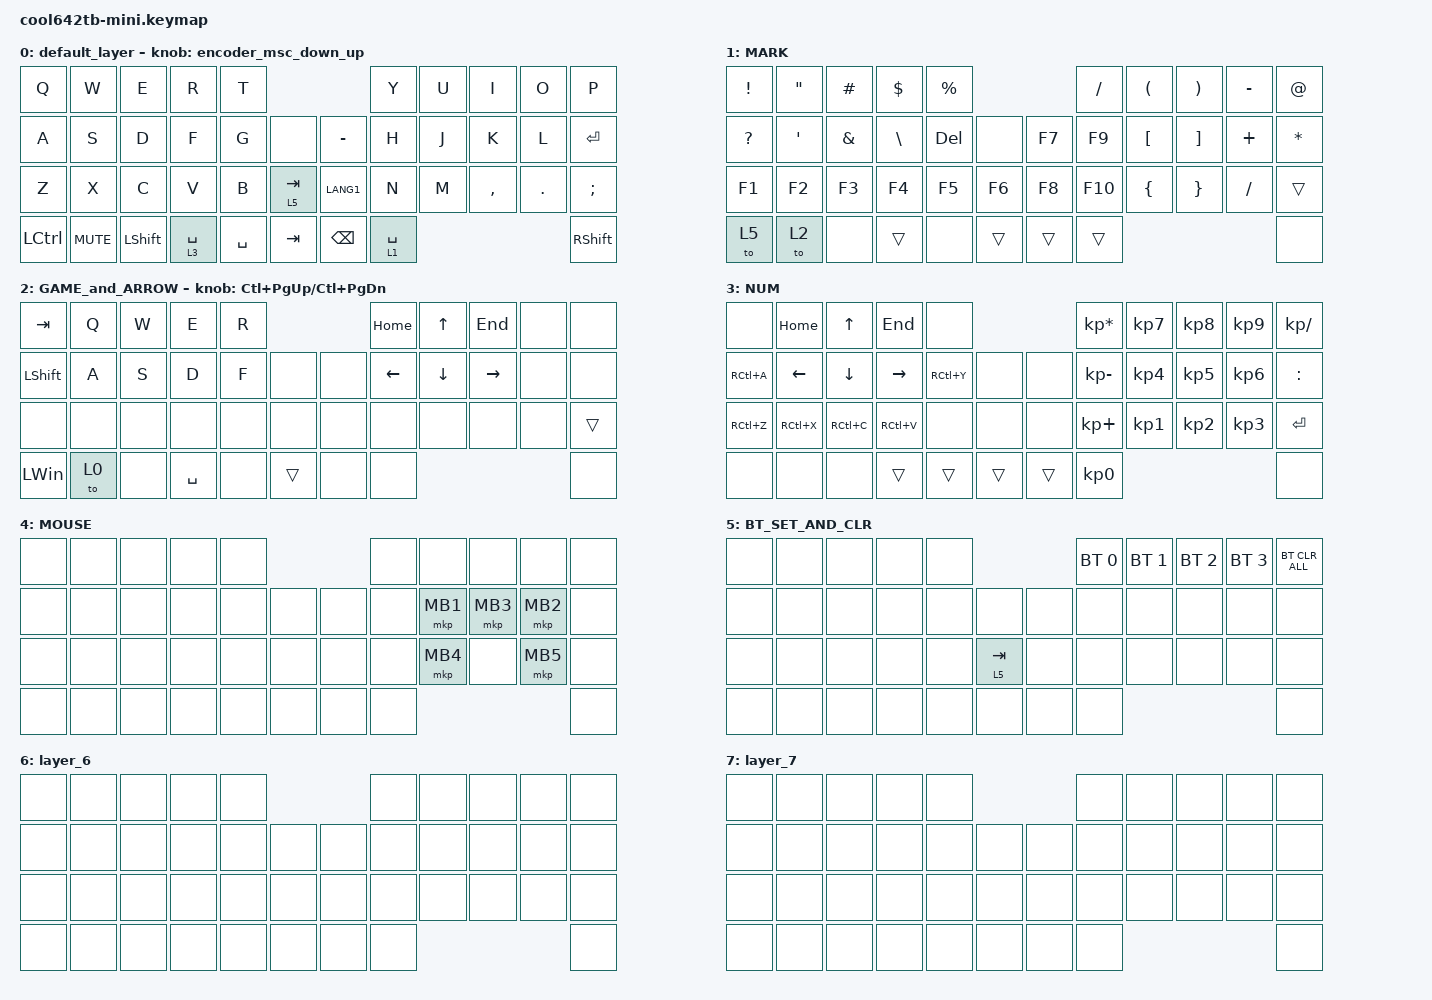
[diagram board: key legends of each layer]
#include <behaviors.dtsi>
#include <dt-bindings/zmk/bt.h>
#include <dt-bindings/zmk/keys.h>
#include <dt-bindings/zmk/pointing.h>

#define MOUSE 4
#define SCROLL 5
#define NUM 6
#define ZMK_POINTING_DEFAULT_SCRL_VAL 80

&mt {
    flavor = "balanced";
    quick-tap-ms = <0>;
};

/ {
    combos {
        compatible = "zmk,combos";

        shift_tab {
            bindings = <&kp LANG2>;
            key-positions = <13 12>;
        };

        lang {
            bindings = <&kp LANG1>;
            key-positions = <18 19>;
        };
    };

    behaviors {
        encoder_msc_down_up: encoder_msc_down_up {
            compatible = "zmk,behavior-sensor-rotate";
            label = "ENCODER_MSC_DOWN_UP";
            #sensor-binding-cells = <0>;
            bindings = <&msc SCRL_UP>, <&msc SCRL_DOWN>;

            tap-ms = <20>;
        };
    };

    keymap {
        compatible = "zmk,keymap";

        default_layer {
            bindings = <
&kp Q      &kp W       &kp E           &kp R        &kp T                                    &kp Y        &kp U  &kp I      &kp O    &kp P
&kp A      &kp S       &kp D           &kp F        &kp G      &none          &kp MINUS      &kp H        &kp J  &kp K      &kp L    &kp ENTER
&kp Z      &kp X       &kp C           &kp V        &kp B      &lt 5 TAB      &kp LANG1      &kp N        &kp M  &kp COMMA  &kp DOT  &kp SEMICOLON
&kp LCTRL  &kp C_MUTE  &kp LEFT_SHIFT  &lt 3 SPACE  &kp SPACE  &kp TAB        &kp BACKSPACE  &lt 1 SPACE                             &kp RIGHT_SHIFT
            >;

            sensor-bindings = <&encoder_msc_down_up>;
        };

        MARK {
            bindings = <
&kp EXCLAMATION  &kp DOUBLE_QUOTES  &kp HASH       &kp DOLLAR     &kp PERCENT                      &kp SLASH  &kp LEFT_PARENTHESIS  &kp RIGHT_PARENTHESIS  &kp MINUS  &kp AT_SIGN
&kp QUESTION     &kp SQT            &kp AMPERSAND  &kp BACKSLASH  &kp DELETE   &none       &kp F7  &kp F9     &kp LEFT_BRACKET      &kp RIGHT_BRACKET      &kp PLUS   &kp ASTERISK
&kp F1           &kp F2             &kp F3         &kp F4         &kp F5       &kp F6      &kp F8  &kp F10    &kp LEFT_BRACE        &kp RIGHT_BRACE        &kp SLASH  &trans
&to 5            &to 2              &none          &trans         &none        &trans      &trans  &trans                                                             &none
            >;
        };

        GAME_and_ARROW {
            bindings = <
&kp TAB         &kp Q  &kp W  &kp E      &kp R                     &kp HOME        &kp UP_ARROW    &kp END    &none  &none
&kp LEFT_SHIFT  &kp A  &kp S  &kp D      &kp F  &none       &none  &kp LEFT_ARROW  &kp DOWN_ARROW  &kp RIGHT  &none  &none
&none           &none  &none  &none      &none  &none       &none  &none           &none           &none      &none  &trans
&kp LEFT_WIN    &to 0  &none  &kp SPACE  &none  &trans      &none  &none                                             &none
            >;

            sensor-bindings = <&inc_dec_kp LC(PAGE_UP) LC(PAGE_DOWN)>;
        };

        NUM {
            bindings = <
&none      &kp HOME        &kp UP_ARROW    &kp END          &none                          &kp KP_ASTERISK  &kp KP_NUMBER_7  &kp KP_NUMBER_8  &kp KP_NUMBER_9  &kp KP_DIVIDE
&kp RC(A)  &kp LEFT_ARROW  &kp DOWN_ARROW  &kp RIGHT_ARROW  &kp RC(Y)  &none       &none   &kp KP_MINUS     &kp KP_NUMBER_4  &kp KP_NUMBER_5  &kp KP_NUMBER_6  &kp COLON
&kp RC(Z)  &kp RC(X)       &kp RC(C)       &kp RC(V)        &none      &none       &none   &kp KP_PLUS      &kp KP_NUMBER_1  &kp KP_NUMBER_2  &kp KP_NUMBER_3  &kp ENTER
&none      &none           &none           &trans           &trans     &trans      &trans  &kp KP_NUMBER_0                                                     &none
            >;
        };

        MOUSE {
            bindings = <
&none  &none  &none  &none  &none                    &none  &none     &none     &none     &none
&none  &none  &none  &none  &none  &none      &none  &none  &mkp MB1  &mkp MB3  &mkp MB2  &none
&none  &none  &none  &none  &none  &none      &none  &none  &mkp MB4  &none     &mkp MB5  &none
&none  &none  &none  &none  &none  &none      &none  &none                                &none
            >;
        };

        BT_SET_AND_CLR {
            bindings = <
&none  &none  &none  &none  &none                        &bt BT_SEL 0  &bt BT_SEL 1  &bt BT_SEL 2  &bt BT_SEL 3  &bt BT_CLR_ALL
&none  &none  &none  &none  &none  &none          &none  &none         &none         &none         &none         &none
&none  &none  &none  &none  &none  &lt 5 TAB      &none  &none         &none         &none         &none         &none
&none  &none  &none  &none  &none  &none          &none  &none                                                   &none
            >;
        };

        layer_6 {
            bindings = <
&none  &none  &none  &none  &none                    &none  &none  &none  &none  &none
&none  &none  &none  &none  &none  &none      &none  &none  &none  &none  &none  &none
&none  &none  &none  &none  &none  &none      &none  &none  &none  &none  &none  &none
&none  &none  &none  &none  &none  &none      &none  &none                       &none
            >;
        };

        layer_7 {
            bindings = <
&none  &none  &none  &none  &none                    &none  &none  &none  &none  &none
&none  &none  &none  &none  &none  &none      &none  &none  &none  &none  &none  &none
&none  &none  &none  &none  &none  &none      &none  &none  &none  &none  &none  &none
&none  &none  &none  &none  &none  &none      &none  &none                       &none
            >;
        };
    };
};
